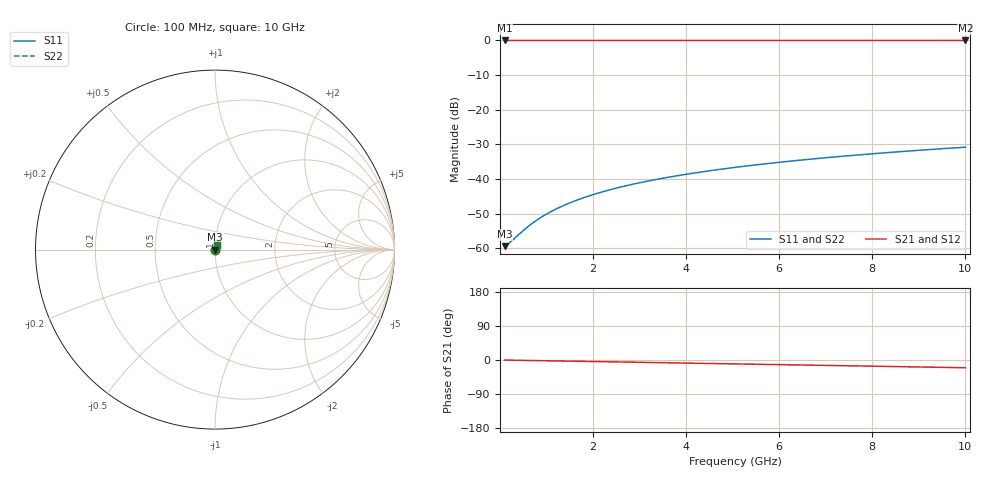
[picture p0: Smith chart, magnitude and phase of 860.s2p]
# Hz S RI R 50.00
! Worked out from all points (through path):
!   100 points, 100 MHz to 10 GHz, reference 50 ohm
!   highest |S21| = -0.01 dB at 100 MHz (marker M1); lowest = 0.0 dB at 10 GHz (marker M2)
!   group delay of S21, straight-line fit = 5.68 ps
!   lowest |S11| = -59.4 dB at 100 MHz (marker M3), VSWR 1.00, Z = 50.1 + j0.029 ohm
!   |S11| at or under -10 dB: start of sweep to end of sweep
!   |S22| runs from -59.4 to -30.8 dB; largest |S21 - S12| = 0
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1e8  0.00103 0.000289  0.999 -0.00354  0.999 -0.00354  0.00103 0.000289
2e8  0.00104 0.000579  0.9989 -0.00708  0.9989 -0.00708  0.00104 0.000579
5e8  0.00107 0.00145  0.9988 -0.0177  0.9988 -0.0177  0.00107 0.00145
6e8  0.00108 0.00173  0.9987 -0.0212  0.9987 -0.0212  0.00108 0.00173
7e8  0.0011 0.00202  0.9986 -0.0248  0.9986 -0.0248  0.0011 0.00202
9e8  0.00113 0.0026  0.9984 -0.0318  0.9984 -0.0318  0.00113 0.0026
1.1e9  0.00117 0.00318  0.9982 -0.0389  0.9982 -0.0389  0.00117 0.00318
1.3e9  0.00122 0.00375  0.9978 -0.046  0.9978 -0.046  0.00122 0.00375
1.5e9  0.00128 0.00432  0.9975 -0.0531  0.9975 -0.0531  0.00128 0.00432
1.8e9  0.00138 0.00518  0.9968 -0.0637  0.9968 -0.0637  0.00138 0.00518
2.1e9  0.0015 0.00604  0.9961 -0.0743  0.9961 -0.0743  0.0015 0.00604
2.5e9  0.00169 0.00717  0.9949 -0.0884  0.9949 -0.0884  0.00169 0.00717
2.9e9  0.00191 0.0083  0.9935 -0.1025  0.9935 -0.1025  0.00191 0.0083
3.4e9  0.00223 0.0097  0.9915 -0.1202  0.9915 -0.1202  0.00223 0.0097
3.8e9  0.00252 0.0108  0.9897 -0.1343  0.9897 -0.1343  0.00252 0.0108
4.2e9  0.00285 0.0119  0.9877 -0.1483  0.9877 -0.1483  0.00285 0.0119
5.1e9  0.00369 0.0144  0.9823 -0.1799  0.9823 -0.1799  0.00369 0.0144
5.9e9  0.00457 0.0165  0.9767 -0.2079  0.9767 -0.2079  0.00457 0.0165
6.7e9  0.00557 0.0186  0.9703 -0.2357  0.9703 -0.2357  0.00557 0.0186
7.5e9  0.0067 0.0206  0.9631 -0.2634  0.9631 -0.2634  0.0067 0.0206
8.4e9  0.00811 0.0228  0.954 -0.2944  0.954 -0.2944  0.00811 0.0228
1e10  0.011 0.0266  0.9354 -0.3487  0.9354 -0.3487  0.011 0.0266
